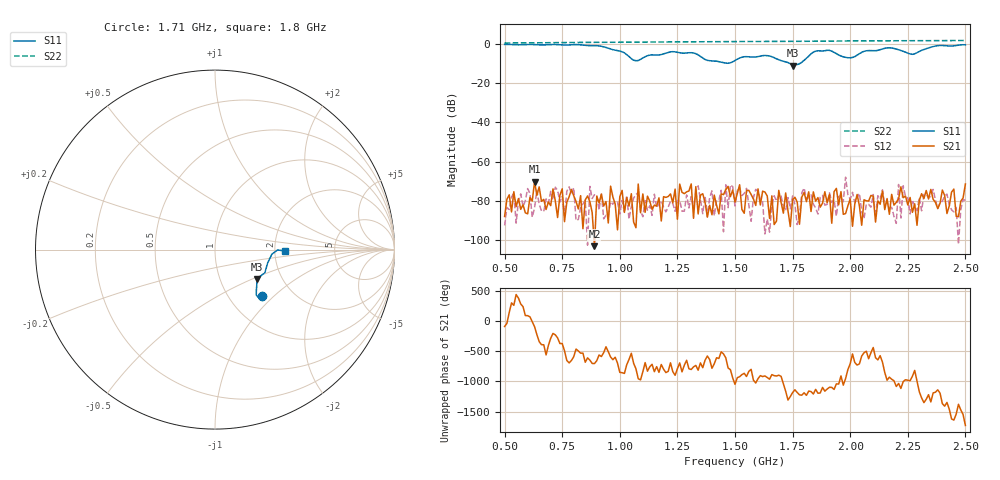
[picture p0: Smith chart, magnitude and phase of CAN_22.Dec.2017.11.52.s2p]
!Keysight Technologies N9923A: A.08.18
!Date: Friday, 22 December 2017 11:52:26
!Timezone: (GMT-05:00) Eastern Time (US & Canada)
!Model: N9923A
!Serial: MY52412517
!GPS Latitude:
!GPS Longitude:
!GPS TimeStamp: 0001-01-01 00:00:00Z
!GPS Seconds Since Last Read: 0
!CHECKSUM:1693884248
!Correction: S11(ON Q)S21(ON Q)S12(ON Q)S22(ON Q)
!S2P File: Measurements:S11,S21,S12,S22:
# Hz S DB R 50
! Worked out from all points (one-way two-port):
!   201 points, 500 MHz to 2.5 GHz, reference 50 ohm
!   highest |S21| = -70.25 dB at 630 MHz (marker M1); lowest = -103.3 dB at 890 MHz (marker M2)
!   lowest |S11| = -10.9 dB at 1.75 GHz (marker M3), VSWR 1.80, Z = 75 - j26.8 ohm
!   |S11| at or under -10 dB: 1.741 GHz to 1.779 GHz (37.37 MHz wide, 2.12 % of centre)
!   |S22| runs from 0.7 to 2.0 dB; largest |S21 - S12| = 0.00047
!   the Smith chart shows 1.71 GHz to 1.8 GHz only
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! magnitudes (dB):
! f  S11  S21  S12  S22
! 500 MHz  0.0  -88.1  -92.7  0.7
! 620 MHz  -0.1  -80.2  -88.5  0.8
! 630 MHz  -0.1  -70.3  -83.7  0.8
! 660 MHz  -0.3  -80.3  -85.2  0.8
! 840 MHz  -0.4  -94.3  -81.7  1.0
! 890 MHz  -0.7  -103.3  -77.0  1.0
! 1.17 GHz  -5.4  -78.6  -81.7  1.2
! 1.45 GHz  -9.4  -76.9  -95.9  1.4
! 1.46 GHz  -9.6  -74.4  -71.9  1.4
! 1.5 GHz  -8.3  -80.8  -82.8  1.4
! 1.52 GHz  -7.0  -71.9  -73.2  1.4
! 1.53 GHz  -6.6  -84.5  -77.5  1.4
! 1.75 GHz  -10.9  -79.6  -77.6  1.5
! 1.84 GHz  -4.0  -75.5  -81.8  1.6
! 1.97 GHz  -6.4  -87.0  -80.6  1.7
! 1.98 GHz  -6.7  -86.6  -68.0  1.7
! 2 GHz  -6.9  -79.2  -79.3  1.8
! 2.17 GHz  -1.8  -87.0  -83.7  1.8
! 2.21 GHz  -2.8  -79.1  -71.7  1.8
! 2.22 GHz  -3.2  -72.9  -88.9  1.8
! 2.48 GHz  -0.3  -80.3  -84.6  2.0
! 2.5 GHz  -0.3  -71.5  -79.8  2.0
